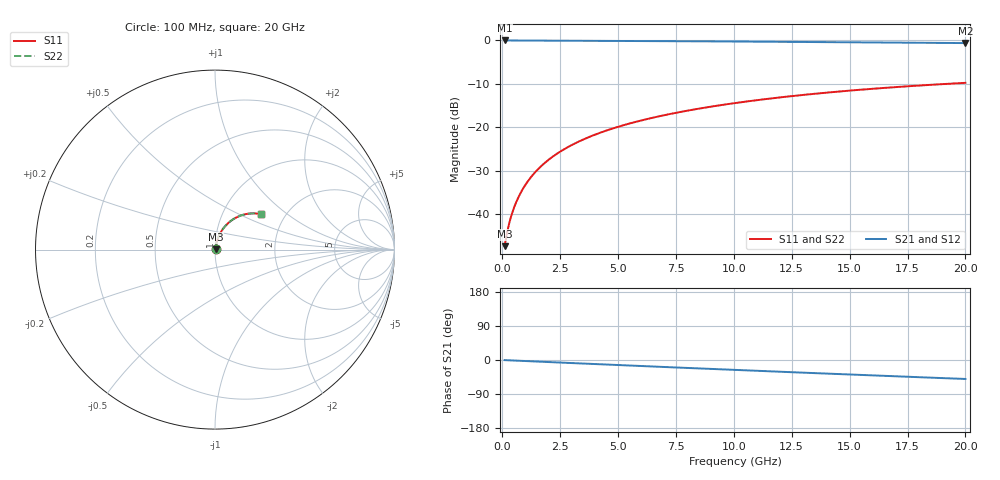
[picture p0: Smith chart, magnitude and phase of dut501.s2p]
! Touchstone file exported from HFSS 2026.1.0
!  File:  C:/ffzhzh/LocalFiles/Ansys_Project_Files/temp_train_BSMRDL_501_1783014187_4048.aedt
!  Generated:  01:44:43 AM Jul  3, 2026
!  Design:  BSMRDL
!  Project:  temp_train_BSMRDL_501_1783014187_4048
! Variables:
!  h_bsmrdl = 4.89um
!  h_ox = 20um
!  h_rdl = 5um
!  h_sub = 80um
!  h_tmrdl = 5um
!  h_tsv = 80um
!  h_via = 3um
!  l_bsmrdl = 834.5um
!  l_sub = 1234.5um
!  l_tmrdl = 200um
!  m_sub = 200um
!  pitch = 32.58um
!  r_tsv = 6um
!  s_tmrdl = 10um
!  w_bsmrdl = 17.67um
!  w_sub = 500um
!  w_tmrdl = 12um
!  x_tsv_center1 = 206um
!  x_tsv_center2 = 1058.17um
!  x_tsv_center3 = 1270.17um
!  x_tsv_center4 = 2122.34um
!  x_tsv_center5 = 2334.34um
!  x_tsv_center6 = 3186.51um
# GHz S MA R 50.000000
! Terminal data exported
! Port[1] = BSM_RDL1_1_T1
! Port[2] = BSM_RDL1_1_T2
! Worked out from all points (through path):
!   200 points, 100 MHz to 20 GHz, reference 50 ohm
!   highest |S21| = -0.03 dB at 100 MHz (marker M1); lowest = -0.6 dB at 20 GHz (marker M2)
!   group delay of S21, straight-line fit = 6.94 ps
!   lowest |S11| = -47.3 dB at 100 MHz (marker M3), VSWR 1.01, Z = 50.4 + j0.244 ohm
!   |S11| at or under -10 dB: start of sweep to 19.2 GHz
!   |S22| runs from -47.3 to -9.8 dB; largest |S21 - S12| = 5.6e-15
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0.1  0.004324 34.0  0.9964 -0.3  0.9964 -0.3  0.004324 34.0
! Gamma 0 0 0 0
! Port Impedance 50 0 50 0
0.2  0.006061 50.6  0.9962 -0.6  0.9962 -0.6  0.006061 50.6
0.3  0.007958 58.9  0.996 -0.8  0.996 -0.8  0.007958 58.9
0.4  0.009888 63.9  0.9958 -1.1  0.9958 -1.1  0.009888 63.9
0.5  0.01184 67.4  0.9957 -1.4  0.9957 -1.4  0.01184 67.4
0.6  0.01383 69.9  0.9955 -1.7  0.9955 -1.7  0.01383 69.9
0.8  0.01785 73.1  0.9953 -2.2  0.9953 -2.2  0.01785 73.1
1.1  0.02398 75.6  0.995 -3.0  0.995 -3.0  0.02398 75.6
1.3  0.0281 76.5  0.9948 -3.5  0.9948 -3.5  0.0281 76.5
1.6  0.03428 77.1  0.9943 -4.3  0.9943 -4.3  0.03428 77.1
2.1  0.04454 77.2  0.9935 -5.7  0.9935 -5.7  0.04454 77.2
2.7  0.05672 76.5  0.9923 -7.3  0.9923 -7.3  0.05672 76.5
3.5  0.07265 75.0  0.9903 -9.4  0.9903 -9.4  0.07265 75.0
4.2  0.0863 73.5  0.9884 -11.2  0.9884 -11.2  0.0863 73.5
5  0.1015 71.8  0.9861 -13.3  0.9861 -13.3  0.1015 71.7
5.9  0.1183 69.7  0.9834 -15.7  0.9834 -15.7  0.1183 69.7
6.8  0.1346 67.6  0.9804 -18.0  0.9804 -18.0  0.1346 67.6
8.3  0.161 64.1  0.9753 -21.8  0.9753 -21.8  0.161 64.1
10.1  0.1911 59.9  0.9688 -26.3  0.9688 -26.3  0.1911 59.9
13.4  0.242 52.3  0.956 -34.4  0.956 -34.4  0.242 52.3
16.7  0.2867 44.7  0.9427 -42.3  0.9427 -42.3  0.2867 44.7
20  0.3248 37.3  0.9297 -50.0  0.9297 -50.0  0.3248 37.3
